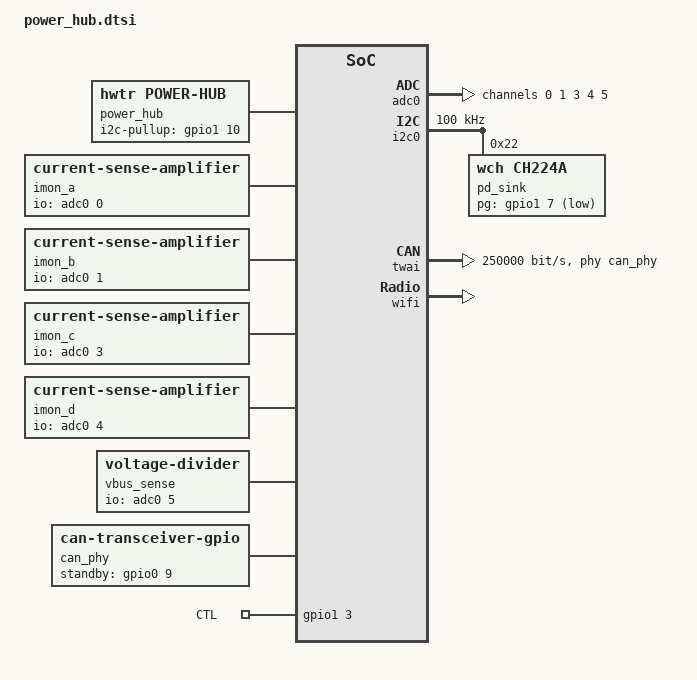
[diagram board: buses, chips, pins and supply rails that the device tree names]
/*
 * Power hub peripherals: USB-C PD sink, row eFuses, rack bus.
 *
 * Source of truth: electronics/power-hub/design.py (U4).  Keep the pin
 * table in firmware/power-hub/README.md in sync with this file
 * (firmware/tools/check_pinmap.py checks both).
 *
 * SPDX-License-Identifier: Apache-2.0
 */

#include <zephyr/dt-bindings/gpio/gpio.h>
#include <zephyr/dt-bindings/i2c/i2c.h>
#include <zephyr/dt-bindings/adc/adc.h>

/ {
	aliases {
		led0 = &ctl_led;
	};

	power_hub: power-hub {
		compatible = "hwtr,power-hub";
		/* IO42 I2C_PU: the CH224A's I2C pull-ups, on once VBUS is up */
		i2c-pullup-gpios = <&gpio1 10 GPIO_ACTIVE_HIGH>;
		pd = <&pd_sink>;
		vbus-sense = <&vbus_sense>;
		can = <&twai>;
	};

	/* Rows A-D: TPS26600 eFuses, POS tokens (docs/can.md) */
	rack_rows: rack-rows {
		compatible = "hwtr,rack-rows";
		#address-cells = <1>;
		#size-cells = <0>;

		/* IO14 ROW_EN_A -> SHDN through 10k (100k pull-down: off without firmware) */
		row_a: row@0 {
			reg = <0>;
			enable-gpios = <&gpio0 14 GPIO_ACTIVE_HIGH>;
			/* IO18 FLT_A <- ~FLT, open drain, 100k to 3.3 V */
			fault-gpios = <&gpio0 18 GPIO_ACTIVE_LOW>;
			/* IO10 POS_A -> J2.1 (row outputs: the nodes' OUT pinout) through 10k and a BAT54S clamp */
			pos-gpios = <&gpio0 10 GPIO_ACTIVE_HIGH>;
			current-sense = <&imon_a>;
		};

		row_b: row@1 {
			reg = <1>;
			enable-gpios = <&gpio0 15 GPIO_ACTIVE_HIGH>;
			fault-gpios = <&gpio0 21 GPIO_ACTIVE_LOW>;
			pos-gpios = <&gpio0 11 GPIO_ACTIVE_HIGH>;
			current-sense = <&imon_b>;
		};

		/*
		 * Rows C and D are not fitted on the first build: their eFuses (U13,
		 * U14), connectors (J4, J5) and LEDs are DNP.  Okay once fitted.
		 */
		row_c: row@2 {
			reg = <2>;
			status = "disabled";
			enable-gpios = <&gpio0 16 GPIO_ACTIVE_HIGH>;
			fault-gpios = <&gpio1 15 GPIO_ACTIVE_LOW>;
			pos-gpios = <&gpio0 12 GPIO_ACTIVE_HIGH>;
			current-sense = <&imon_c>;
		};

		row_d: row@3 {
			reg = <3>;
			status = "disabled";
			enable-gpios = <&gpio0 17 GPIO_ACTIVE_HIGH>;
			fault-gpios = <&gpio1 1 GPIO_ACTIVE_LOW>;
			pos-gpios = <&gpio0 13 GPIO_ACTIVE_HIGH>;
			current-sense = <&imon_d>;
		};
	};

	/*
	 * IMON: the TPS26600 sources 78 uA/A into 18k (1.404 V/A), through
	 * 1k + 10 nF to the ADC: a 1.404 ohm "shunt" with unity gain.
	 */
	imon_a: imon-a {
		compatible = "current-sense-amplifier";
		io-channels = <&adc0 0>;
		sense-resistor-milli-ohms = <1404>;
	};

	imon_b: imon-b {
		compatible = "current-sense-amplifier";
		io-channels = <&adc0 1>;
		sense-resistor-milli-ohms = <1404>;
	};

	imon_c: imon-c {
		compatible = "current-sense-amplifier";
		io-channels = <&adc0 3>;
		sense-resistor-milli-ohms = <1404>;
	};

	imon_d: imon-d {
		compatible = "current-sense-amplifier";
		io-channels = <&adc0 4>;
		sense-resistor-milli-ohms = <1404>;
	};

	/*
	 * IO6 VBUS_SENSE: VBUS through 100k/10k (2.5 V at 28 V).  The ESP32's
	 * ADC driver refuses a calibration request (every read fails with
	 * -ENOTSUP otherwise); its eFuse calibration applies anyway.
	 */
	vbus_sense: vbus-sense {
		compatible = "voltage-divider";
		io-channels = <&adc0 5>;
		output-ohms = <10000>;
		full-ohms = <110000>;
		skip-calibration;
	};

	/* IO9 CAN_STB: TJA1462AT standby (10k pull-down: normal mode) */
	can_phy: can-phy {
		compatible = "can-transceiver-gpio";
		standby-gpios = <&gpio0 9 GPIO_ACTIVE_HIGH>;
		max-bitrate = <5000000>;
		#phy-cells = <0>;
	};

	leds {
		compatible = "gpio-leds";

		/* IO35 CTL_LED: the controller's green LED on the front wall (330R) */
		ctl_led: led_0 {
			gpios = <&gpio1 3 GPIO_ACTIVE_HIGH>;
			label = "CTL";
		};
	};
};

&gpio0 {
	status = "okay";
};

&gpio1 {
	status = "okay";
};

/* ADC1 channel n is IO(n + 1); 12 dB for IMON (2.2 V at the 1.6 A limit) and VBUS_SENSE */
&adc0 {
	status = "okay";
	#address-cells = <1>;
	#size-cells = <0>;

	channel@0 {
		reg = <0>;
		zephyr,gain = "ADC_GAIN_1_4";
		zephyr,reference = "ADC_REF_INTERNAL";
		zephyr,acquisition-time = <ADC_ACQ_TIME_DEFAULT>;
		zephyr,resolution = <12>;
	};

	channel@1 {
		reg = <1>;
		zephyr,gain = "ADC_GAIN_1_4";
		zephyr,reference = "ADC_REF_INTERNAL";
		zephyr,acquisition-time = <ADC_ACQ_TIME_DEFAULT>;
		zephyr,resolution = <12>;
	};

	channel@3 {
		reg = <3>;
		zephyr,gain = "ADC_GAIN_1_4";
		zephyr,reference = "ADC_REF_INTERNAL";
		zephyr,acquisition-time = <ADC_ACQ_TIME_DEFAULT>;
		zephyr,resolution = <12>;
	};

	channel@4 {
		reg = <4>;
		zephyr,gain = "ADC_GAIN_1_4";
		zephyr,reference = "ADC_REF_INTERNAL";
		zephyr,acquisition-time = <ADC_ACQ_TIME_DEFAULT>;
		zephyr,resolution = <12>;
	};

	channel@5 {
		reg = <5>;
		zephyr,gain = "ADC_GAIN_1_4";
		zephyr,reference = "ADC_REF_INTERNAL";
		zephyr,acquisition-time = <ADC_ACQ_TIME_DEFAULT>;
		zephyr,resolution = <12>;
	};
};

&i2c0 {
	status = "okay";
	clock-frequency = <I2C_BITRATE_STANDARD>;
	pinctrl-0 = <&hub_i2c0_default>;
	pinctrl-names = "default";

	/*
	 * U1, the USB PD 3.2 sink (CH224A, one-resistor mode: I2C on).  Powered
	 * from VBUS: initialized by the application once VBUS is up, I2C_PU is
	 * on and the chip answers.
	 */
	pd_sink: ch224a@22 {
		compatible = "wch,ch224a";
		reg = <0x22>;
		zephyr,deferred-init;
		/* IO39 PD_INT <- PG (open drain, 10k to 3.3 V, low once the contract is in place) */
		pg-gpios = <&gpio1 7 GPIO_ACTIVE_LOW>;
		/* CFG1 6.8k: 9 V at plug-in */
		startup-microvolt = <9000000>;
		/* Never above 28 V (the nodes' TVS, the eFuses' 33 V OVP) */
		regulator-min-microvolt = <5000000>;
		regulator-max-microvolt = <28000000>;
	};
};

/* IO7/IO8: TWAI, the rack bus at 250 kbit/s */
&twai {
	status = "okay";
	pinctrl-0 = <&hub_twai_default>;
	pinctrl-names = "default";
	bitrate = <250000>;
	phys = <&can_phy>;
};

&wifi {
	status = "okay";
};
